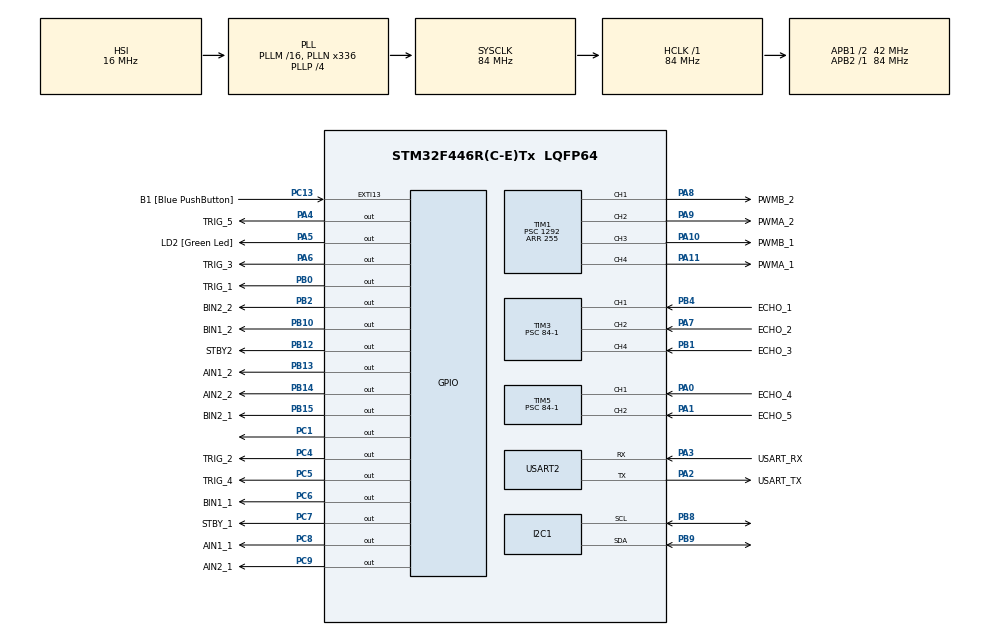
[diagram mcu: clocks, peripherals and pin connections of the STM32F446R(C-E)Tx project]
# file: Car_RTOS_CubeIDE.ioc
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Mcu.Family=STM32F4
Mcu.Name=STM32F446R(C-E)Tx
Mcu.Package=LQFP64
NVIC.PriorityGroup=NVIC_PRIORITYGROUP_4
NVIC.TIM2_IRQn=true\:0\:0\:false\:false\:true\:false\:true
NVIC.TIM3_IRQn=true\:0\:0\:false\:false\:true\:true\:true
NVIC.TimeBase=TIM2_IRQn
NVIC.TimeBaseIP=TIM2
PA0-WKUP.GPIO_Label=ECHO_4
PA0-WKUP.Signal=S_TIM5_CH1
PA1.GPIO_Label=ECHO_5
PA1.Signal=S_TIM5_CH2
PA10.GPIO_Label=PWMB_1
PA10.GPIO_Speed=GPIO_SPEED_FREQ_HIGH
PA10.Signal=S_TIM1_CH3
PA11.GPIO_Label=PWMA_1
PA11.GPIO_Speed=GPIO_SPEED_FREQ_HIGH
PA11.Signal=S_TIM1_CH4
PA13.GPIO_Label=TMS
PA13.Mode=Serial_Wire
PA13.Signal=SYS_JTMS-SWDIO
PA14.GPIO_Label=TCK
PA14.Mode=Serial_Wire
PA14.Signal=SYS_JTCK-SWCLK
PA2.GPIO_Label=USART_TX
PA2.Mode=Asynchronous
PA2.Signal=USART2_TX
PA3.GPIO_Label=USART_RX
PA3.Mode=Asynchronous
PA3.Signal=USART2_RX
PA4.GPIO_Label=TRIG_5
PA4.Signal=GPIO_Output
PA5.GPIO_Label=LD2 [Green Led]
PA5.GPIO_PuPd=GPIO_NOPULL
PA5.GPIO_Speed=GPIO_SPEED_FREQ_LOW
PA5.PinState=GPIO_PIN_RESET
PA5.Signal=GPIO_Output
PA6.GPIO_Label=TRIG_3
PA6.Signal=GPIO_Output
PA7.GPIO_Label=ECHO_2
PA7.Signal=S_TIM3_CH2
PA8.GPIO_Label=PWMB_2
PA8.GPIO_Speed=GPIO_SPEED_FREQ_HIGH
PA8.Signal=S_TIM1_CH1
PA9.GPIO_Label=PWMA_2
PA9.GPIO_Speed=GPIO_SPEED_FREQ_HIGH
PA9.Signal=S_TIM1_CH2
PB0.GPIO_Label=TRIG_1
PB0.Signal=GPIO_Output
PB1.GPIO_Label=ECHO_3
PB1.Signal=S_TIM3_CH4
PB10.GPIO_Label=BIN1_2
PB10.Signal=GPIO_Output
PB12.GPIO_Label=STBY2
PB12.Signal=GPIO_Output
PB13.GPIO_Label=AIN1_2
PB13.Signal=GPIO_Output
PB14.GPIO_Label=AIN2_2
PB14.Signal=GPIO_Output
PB15.GPIO_Label=BIN2_1
PB15.Signal=GPIO_Output
PB2.GPIO_Label=BIN2_2
PB2.Signal=GPIO_Output
PB3.GPIO_Label=SWO
PB3.Signal=SYS_JTDO-SWO
PB4.GPIO_Label=ECHO_1
PB4.Signal=S_TIM3_CH1
PB8.Mode=I2C
PB8.Signal=I2C1_SCL
PB9.Mode=I2C
PB9.Signal=I2C1_SDA
PC1.Signal=GPIO_Output
PC13.GPIO_Label=B1 [Blue PushButton]
PC13.GPIO_ModeDefaultEXTI=GPIO_MODE_IT_FALLING
PC13.Signal=GPXTI13
PC14-OSC32_IN.Mode=LSE-External-Oscillator
PC14-OSC32_IN.Signal=RCC_OSC32_IN
PC15-OSC32_OUT.Mode=LSE-External-Oscillator
PC15-OSC32_OUT.Signal=RCC_OSC32_OUT
PC4.GPIO_Label=TRIG_2
PC4.Signal=GPIO_Output
PC5.GPIO_Label=TRIG_4
PC5.Signal=GPIO_Output
PC6.GPIO_Label=BIN1_1
PC6.Signal=GPIO_Output
PC7.GPIO_Label=STBY_1
PC7.Signal=GPIO_Output
PC8.GPIO_Label=AIN1_1
PC8.Signal=GPIO_Output
PC9.GPIO_Label=AIN2_1
PC9.Signal=GPIO_Output
PH0-OSC_IN.Mode=HSE-External-Oscillator
PH0-OSC_IN.Signal=RCC_OSC_IN
PH1-OSC_OUT.Mode=HSE-External-Oscillator
PH1-OSC_OUT.Signal=RCC_OSC_OUT
ProjectManager.HeapSize=0x200
ProjectManager.StackSize=0x400
ProjectManager.TargetToolchain=STM32CubeIDE
RCC.48MHZClocksFreq_Value=84000000
RCC.AHBFreq_Value=84000000
RCC.APB1CLKDivider=RCC_HCLK_DIV2
RCC.APB1Freq_Value=42000000
RCC.APB1TimFreq_Value=84000000
RCC.APB2Freq_Value=84000000
RCC.APB2TimFreq_Value=84000000
RCC.CortexFreq_Value=84000000
RCC.FLatency-AdvancedSettings=FLASH_LATENCY_2
RCC.HCLKFreq_Value=84000000
RCC.HSE_VALUE=8000000
RCC.HSI_VALUE=16000000
RCC.PLLN=336
RCC.PLLP=RCC_PLLP_DIV4
RCC.SYSCLKFreq_VALUE=84000000
RCC.SYSCLKSource=RCC_SYSCLKSOURCE_PLLCLK
RCC.USBFreq_Value=168000000
RCC.VCOOutputFreq_Value=336000000
SH.S_TIM1_CH1.0=TIM1_CH1,PWM Generation1 CH1
SH.S_TIM1_CH2.0=TIM1_CH2,PWM Generation2 CH2
SH.S_TIM1_CH3.0=TIM1_CH3,PWM Generation3 CH3
SH.S_TIM1_CH4.0=TIM1_CH4,PWM Generation4 CH4
SH.S_TIM3_CH1.0=TIM3_CH1,Input_Capture1_from_TI1
SH.S_TIM3_CH2.0=TIM3_CH2,Input_Capture2_from_TI2
SH.S_TIM3_CH4.0=TIM3_CH4,Input_Capture4_from_TI4
SH.S_TIM5_CH1.0=TIM5_CH1,Input_Capture1_from_TI1
SH.S_TIM5_CH2.0=TIM5_CH2,Input_Capture2_from_TI2
TIM1.Channel-PWM\ Generation1\ CH1=TIM_CHANNEL_1
TIM1.Channel-PWM\ Generation2\ CH2=TIM_CHANNEL_2
TIM1.Channel-PWM\ Generation3\ CH3=TIM_CHANNEL_3
TIM1.Channel-PWM\ Generation4\ CH4=TIM_CHANNEL_4
TIM1.Period=255
TIM1.Prescaler=1292
TIM1.Pulse-PWM\ Generation1\ CH1=2000
TIM1.Pulse-PWM\ Generation2\ CH2=2000
TIM1.Pulse-PWM\ Generation3\ CH3=2000
TIM1.Pulse-PWM\ Generation4\ CH4=2000
TIM3.Channel-Input_Capture1_from_TI1=TIM_CHANNEL_1
TIM3.Channel-Input_Capture2_from_TI2=TIM_CHANNEL_2
TIM3.Channel-Input_Capture4_from_TI4=TIM_CHANNEL_4
TIM3.ICFilter_CH1=4
TIM3.ICFilter_CH2=4
TIM3.ICFilter_CH4=4
TIM3.ICPolarity_CH1=TIM_INPUTCHANNELPOLARITY_BOTHEDGE
TIM3.ICPolarity_CH2=TIM_INPUTCHANNELPOLARITY_BOTHEDGE
TIM3.ICPolarity_CH4=TIM_INPUTCHANNELPOLARITY_BOTHEDGE
TIM3.Prescaler=84-1
TIM5.Channel-Input_Capture1_from_TI1=TIM_CHANNEL_1
TIM5.Channel-Input_Capture2_from_TI2=TIM_CHANNEL_2
TIM5.ICFilter_CH1=4
TIM5.ICFilter_CH2=4
TIM5.ICPolarity_CH1=TIM_INPUTCHANNELPOLARITY_BOTHEDGE
TIM5.ICPolarity_CH2=TIM_INPUTCHANNELPOLARITY_BOTHEDGE
TIM5.Period=65535
TIM5.Prescaler=84-1
USART2.VirtualMode=VM_ASYNC
VP_SYS_VS_tim2.Mode=TIM2
VP_TIM3_VS_ClockSourceINT.Mode=Internal
VP_TIM4_VS_ClockSourceINT.Mode=Internal
board=NUCLEO-F446RE

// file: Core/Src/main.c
/* USER CODE BEGIN Header */
/**
  ******************************************************************************
  * @file           : main.c
  * @brief          : Main program body
  ******************************************************************************
  * @attention
  *
  * <h2><center>&copy; Copyright (c) 2021 STMicroelectronics.
  * All rights reserved.</center></h2>
  *
  * This software component is licensed by ST under BSD 3-Clause license,
  * the "License"; You may not use this file except in compliance with the
  * License. You may obtain a copy of the License at:
  *                        opensource.org/licenses/BSD-3-Clause
  *
  ******************************************************************************
  */
/* USER CODE END Header */
#include "main.h"

/* USER CODE BEGIN Includes */
#include "FreeRTOS.h"
#include "task.h"
#include "string.h"
#include "stdio.h"
#include "range_sensors.h"
#include "imu.h"
/* USER CODE END Includes */

I2C_HandleTypeDef hi2c1;

TIM_HandleTypeDef htim1;
TIM_HandleTypeDef htim3;
TIM_HandleTypeDef htim4;
TIM_HandleTypeDef htim5;

UART_HandleTypeDef huart2;

/* USER CODE BEGIN PV */
//Task Handles
TaskHandle_t xUS1TaskHandle;
TaskHandle_t xUS2TaskHandle;
TaskHandle_t xUS3TaskHandle;
TaskHandle_t xIMUTaskHandle;

//IMU variables
ScaledData_Def AccelScaled, GyroScaled;

/* USER CODE END PV */

void SystemClock_Config(void);
static void MX_GPIO_Init(void);
static void MX_TIM1_Init(void);
static void MX_USART2_UART_Init(void);
static void MX_TIM4_Init(void);
static void MX_I2C1_Init(void);
static void MX_TIM3_Init(void);
static void MX_TIM5_Init(void);

/* USER CODE END PFP */

/* USER CODE BEGIN 0 */
void vUS1Task(void *parameters);
void vUS2Task(void *parameters);
void vUS3Task(void *parameters);
void vMPU6050Task(void *pvParameters);
void MPU6050Setup(void);

/* USER CODE END 0 */

int main(void)
{

  /* MCU Configuration--------------------------------------------------------*/

  /* Reset of all peripherals, Initializes the Flash interface and the Systick. */
  HAL_Init();

  /* Configure the system clock */
  SystemClock_Config();

  /* Initialize all configured peripherals */
  MX_GPIO_Init();
  MX_TIM1_Init();
  MX_USART2_UART_Init();
  MX_TIM4_Init();
  MX_I2C1_Init();
  MX_TIM3_Init();
  MX_TIM5_Init();
  /* USER CODE BEGIN 2 */
  MPU6050Setup();

  xTaskCreate(vUS1Task ,"US1-Task", configMINIMAL_STACK_SIZE, NULL, 1, &xUS1TaskHandle);
  xTaskCreate(vUS2Task ,"US2-Task", configMINIMAL_STACK_SIZE, NULL, 1, &xUS2TaskHandle);
  xTaskCreate(vUS3Task ,"US3-Task", configMINIMAL_STACK_SIZE, NULL, 1, &xUS3TaskHandle);
  xTaskCreate(vMPU6050Task, "IMU-Task", configMINIMAL_STACK_SIZE, NULL, 1, &xIMUTaskHandle);

  vTaskStartScheduler();

  /* USER CODE END 2 */

  /* Infinite loop */
  while (1)
  {

  }
}

void SystemClock_Config(void)
{
  RCC_OscInitTypeDef RCC_OscInitStruct = {0};
  RCC_ClkInitTypeDef RCC_ClkInitStruct = {0};

  /** Configure the main internal regulator output voltage
  */
  __HAL_RCC_PWR_CLK_ENABLE();
  __HAL_PWR_VOLTAGESCALING_CONFIG(PWR_REGULATOR_VOLTAGE_SCALE3);
  /** Initializes the RCC Oscillators according to the specified parameters
  * in the RCC_OscInitTypeDef structure.
  */
  RCC_OscInitStruct.OscillatorType = RCC_OSCILLATORTYPE_HSI;
  RCC_OscInitStruct.HSIState = RCC_HSI_ON;
  RCC_OscInitStruct.HSICalibrationValue = RCC_HSICALIBRATION_DEFAULT;
  RCC_OscInitStruct.PLL.PLLState = RCC_PLL_ON;
  RCC_OscInitStruct.PLL.PLLSource = RCC_PLLSOURCE_HSI;
  RCC_OscInitStruct.PLL.PLLM = 16;
  RCC_OscInitStruct.PLL.PLLN = 336;
  RCC_OscInitStruct.PLL.PLLP = RCC_PLLP_DIV4;
  RCC_OscInitStruct.PLL.PLLQ = 2;
  RCC_OscInitStruct.PLL.PLLR = 2;
  if (HAL_RCC_OscConfig(&RCC_OscInitStruct) != HAL_OK)
  {
    Error_Handler();
  }
  /** Initializes the CPU, AHB and APB buses clocks
  */
  RCC_ClkInitStruct.ClockType = RCC_CLOCKTYPE_HCLK|RCC_CLOCKTYPE_SYSCLK
                              |RCC_CLOCKTYPE_PCLK1|RCC_CLOCKTYPE_PCLK2;
  RCC_ClkInitStruct.SYSCLKSource = RCC_SYSCLKSOURCE_PLLCLK;
  RCC_ClkInitStruct.AHBCLKDivider = RCC_SYSCLK_DIV1;
  RCC_ClkInitStruct.APB1CLKDivider = RCC_HCLK_DIV2;
  RCC_ClkInitStruct.APB2CLKDivider = RCC_HCLK_DIV1;

  if (HAL_RCC_ClockConfig(&RCC_ClkInitStruct, FLASH_LATENCY_2) != HAL_OK)
  {
    Error_Handler();
  }
}

static void MX_I2C1_Init(void)
{

  hi2c1.Instance = I2C1;
  hi2c1.Init.ClockSpeed = 100000;
  hi2c1.Init.DutyCycle = I2C_DUTYCYCLE_2;
  hi2c1.Init.OwnAddress1 = 0;
  hi2c1.Init.AddressingMode = I2C_ADDRESSINGMODE_7BIT;
  hi2c1.Init.DualAddressMode = I2C_DUALADDRESS_DISABLE;
  hi2c1.Init.OwnAddress2 = 0;
  hi2c1.Init.GeneralCallMode = I2C_GENERALCALL_DISABLE;
  hi2c1.Init.NoStretchMode = I2C_NOSTRETCH_DISABLE;
  if (HAL_I2C_Init(&hi2c1) != HAL_OK)
  {
    Error_Handler();
  }

}

static void MX_TIM1_Init(void)
{

  TIM_MasterConfigTypeDef sMasterConfig = {0};
  TIM_OC_InitTypeDef sConfigOC = {0};
  TIM_BreakDeadTimeConfigTypeDef sBreakDeadTimeConfig = {0};

  htim1.Instance = TIM1;
  htim1.Init.Prescaler = 1292;
  htim1.Init.CounterMode = TIM_COUNTERMODE_UP;
  htim1.Init.Period = 255;
  htim1.Init.ClockDivision = TIM_CLOCKDIVISION_DIV1;
  htim1.Init.RepetitionCounter = 0;
  htim1.Init.AutoReloadPreload = TIM_AUTORELOAD_PRELOAD_DISABLE;
  if (HAL_TIM_PWM_Init(&htim1) != HAL_OK)
  {
    Error_Handler();
  }
  sMasterConfig.MasterOutputTrigger = TIM_TRGO_RESET;
  sMasterConfig.MasterSlaveMode = TIM_MASTERSLAVEMODE_DISABLE;
  if (HAL_TIMEx_MasterConfigSynchronization(&htim1, &sMasterConfig) != HAL_OK)
  {
    Error_Handler();
  }
  sConfigOC.OCMode = TIM_OCMODE_PWM1;
  sConfigOC.Pulse = 2000;
  sConfigOC.OCPolarity = TIM_OCPOLARITY_HIGH;
  sConfigOC.OCNPolarity = TIM_OCNPOLARITY_HIGH;
  sConfigOC.OCFastMode = TIM_OCFAST_DISABLE;
  sConfigOC.OCIdleState = TIM_OCIDLESTATE_RESET;
  sConfigOC.OCNIdleState = TIM_OCNIDLESTATE_RESET;
  if (HAL_TIM_PWM_ConfigChannel(&htim1, &sConfigOC, TIM_CHANNEL_1) != HAL_OK)
  {
    Error_Handler();
  }
  if (HAL_TIM_PWM_ConfigChannel(&htim1, &sConfigOC, TIM_CHANNEL_2) != HAL_OK)
  {
    Error_Handler();
  }
  if (HAL_TIM_PWM_ConfigChannel(&htim1, &sConfigOC, TIM_CHANNEL_3) != HAL_OK)
  {
    Error_Handler();
  }
  if (HAL_TIM_PWM_ConfigChannel(&htim1, &sConfigOC, TIM_CHANNEL_4) != HAL_OK)
  {
    Error_Handler();
  }
  sBreakDeadTimeConfig.OffStateRunMode = TIM_OSSR_DISABLE;
  sBreakDeadTimeConfig.OffStateIDLEMode = TIM_OSSI_DISABLE;
  sBreakDeadTimeConfig.LockLevel = TIM_LOCKLEVEL_OFF;
  sBreakDeadTimeConfig.DeadTime = 0;
  sBreakDeadTimeConfig.BreakState = TIM_BREAK_DISABLE;
  sBreakDeadTimeConfig.BreakPolarity = TIM_BREAKPOLARITY_HIGH;
  sBreakDeadTimeConfig.AutomaticOutput = TIM_AUTOMATICOUTPUT_DISABLE;
  if (HAL_TIMEx_ConfigBreakDeadTime(&htim1, &sBreakDeadTimeConfig) != HAL_OK)
  {
    Error_Handler();
  }
  HAL_TIM_MspPostInit(&htim1);

}

static void MX_TIM3_Init(void)
{

  TIM_ClockConfigTypeDef sClockSourceConfig = {0};
  TIM_MasterConfigTypeDef sMasterConfig = {0};
  TIM_IC_InitTypeDef sConfigIC = {0};

  htim3.Instance = TIM3;
  htim3.Init.Prescaler = 84-1;
  htim3.Init.CounterMode = TIM_COUNTERMODE_UP;
  htim3.Init.Period = 65535;
  htim3.Init.ClockDivision = TIM_CLOCKDIVISION_DIV1;
  htim3.Init.AutoReloadPreload = TIM_AUTORELOAD_PRELOAD_DISABLE;
  if (HAL_TIM_Base_Init(&htim3) != HAL_OK)
  {
    Error_Handler();
  }
  sClockSourceConfig.ClockSource = TIM_CLOCKSOURCE_INTERNAL;
  if (HAL_TIM_ConfigClockSource(&htim3, &sClockSourceConfig) != HAL_OK)
  {
    Error_Handler();
  }
  if (HAL_TIM_IC_Init(&htim3) != HAL_OK)
  {
    Error_Handler();
  }
  sMasterConfig.MasterOutputTrigger = TIM_TRGO_RESET;
  sMasterConfig.MasterSlaveMode = TIM_MASTERSLAVEMODE_DISABLE;
  if (HAL_TIMEx_MasterConfigSynchronization(&htim3, &sMasterConfig) != HAL_OK)
  {
    Error_Handler();
  }
  sConfigIC.ICPolarity = TIM_INPUTCHANNELPOLARITY_BOTHEDGE;
  sConfigIC.ICSelection = TIM_ICSELECTION_DIRECTTI;
  sConfigIC.ICPrescaler = TIM_ICPSC_DIV1;
  sConfigIC.ICFilter = 4;
  if (HAL_TIM_IC_ConfigChannel(&htim3, &sConfigIC, TIM_CHANNEL_1) != HAL_OK)
  {
    Error_Handler();
  }
  if (HAL_TIM_IC_ConfigChannel(&htim3, &sConfigIC, TIM_CHANNEL_2) != HAL_OK)
  {
    Error_Handler();
  }
  if (HAL_TIM_IC_ConfigChannel(&htim3, &sConfigIC, TIM_CHANNEL_4) != HAL_OK)
  {
    Error_Handler();
  }

}

static void MX_TIM4_Init(void)
{

  TIM_ClockConfigTypeDef sClockSourceConfig = {0};
  TIM_MasterConfigTypeDef sMasterConfig = {0};

  htim4.Instance = TIM4;
  htim4.Init.Prescaler = 0;
  htim4.Init.CounterMode = TIM_COUNTERMODE_UP;
  htim4.Init.Period = 65535;
  htim4.Init.ClockDivision = TIM_CLOCKDIVISION_DIV1;
  htim4.Init.AutoReloadPreload = TIM_AUTORELOAD_PRELOAD_DISABLE;
  if (HAL_TIM_Base_Init(&htim4) != HAL_OK)
  {
    Error_Handler();
  }
  sClockSourceConfig.ClockSource = TIM_CLOCKSOURCE_INTERNAL;
  if (HAL_TIM_ConfigClockSource(&htim4, &sClockSourceConfig) != HAL_OK)
  {
    Error_Handler();
  }
  sMasterConfig.MasterOutputTrigger = TIM_TRGO_RESET;
  sMasterConfig.MasterSlaveMode = TIM_MASTERSLAVEMODE_DISABLE;
  if (HAL_TIMEx_MasterConfigSynchronization(&htim4, &sMasterConfig) != HAL_OK)
  {
    Error_Handler();
  }

}

static void MX_TIM5_Init(void)
{

  TIM_MasterConfigTypeDef sMasterConfig = {0};
  TIM_IC_InitTypeDef sConfigIC = {0};

  htim5.Instance = TIM5;
  htim5.Init.Prescaler = 84-1;
  htim5.Init.CounterMode = TIM_COUNTERMODE_UP;
  htim5.Init.Period = 65535;
  htim5.Init.ClockDivision = TIM_CLOCKDIVISION_DIV1;
  htim5.Init.AutoReloadPreload = TIM_AUTORELOAD_PRELOAD_DISABLE;
  if (HAL_TIM_IC_Init(&htim5) != HAL_OK)
  {
    Error_Handler();
  }
  sMasterConfig.MasterOutputTrigger = TIM_TRGO_RESET;
  sMasterConfig.MasterSlaveMode = TIM_MASTERSLAVEMODE_DISABLE;
  if (HAL_TIMEx_MasterConfigSynchronization(&htim5, &sMasterConfig) != HAL_OK)
  {
    Error_Handler();
  }
  sConfigIC.ICPolarity = TIM_INPUTCHANNELPOLARITY_BOTHEDGE;
  sConfigIC.ICSelection = TIM_ICSELECTION_DIRECTTI;
  sConfigIC.ICPrescaler = TIM_ICPSC_DIV1;
  sConfigIC.ICFilter = 4;
  if (HAL_TIM_IC_ConfigChannel(&htim5, &sConfigIC, TIM_CHANNEL_1) != HAL_OK)
  {
    Error_Handler();
  }
  if (HAL_TIM_IC_ConfigChannel(&htim5, &sConfigIC, TIM_CHANNEL_2) != HAL_OK)
  {
    Error_Handler();
  }

}

static void MX_USART2_UART_Init(void)
{

  huart2.Instance = USART2;
  huart2.Init.BaudRate = 115200;
  huart2.Init.WordLength = UART_WORDLENGTH_8B;
  huart2.Init.StopBits = UART_STOPBITS_1;
  huart2.Init.Parity = UART_PARITY_NONE;
  huart2.Init.Mode = UART_MODE_TX_RX;
  huart2.Init.HwFlowCtl = UART_HWCONTROL_NONE;
  huart2.Init.OverSampling = UART_OVERSAMPLING_16;
  if (HAL_UART_Init(&huart2) != HAL_OK)
  {
    Error_Handler();
  }

}

static void MX_GPIO_Init(void)
{
  GPIO_InitTypeDef GPIO_InitStruct = {0};

  /* GPIO Ports Clock Enable */
  __HAL_RCC_GPIOC_CLK_ENABLE();
  __HAL_RCC_GPIOH_CLK_ENABLE();
  __HAL_RCC_GPIOA_CLK_ENABLE();
  __HAL_RCC_GPIOB_CLK_ENABLE();

  /*Configure GPIO pin Output Level */
  HAL_GPIO_WritePin(GPIOC, GPIO_PIN_1|TRIG_2_Pin|TRIG_4_Pin|BIN1_1_Pin
                          |STBY_1_Pin|AIN1_1_Pin|AIN2_1_Pin, GPIO_PIN_RESET);

  /*Configure GPIO pin Output Level */
  HAL_GPIO_WritePin(GPIOA, TRIG_5_Pin|LD2_Pin|TRIG_3_Pin, GPIO_PIN_RESET);

  /*Configure GPIO pin Output Level */
  HAL_GPIO_WritePin(GPIOB, TRIG_1_Pin|BIN2_2_Pin|BIN1_2_Pin|STBY2_Pin
                          |AIN1_2_Pin|AIN2_2_Pin|BIN2_1_Pin, GPIO_PIN_RESET);

  /*Configure GPIO pin : B1_Pin */
  GPIO_InitStruct.Pin = B1_Pin;
  GPIO_InitStruct.Mode = GPIO_MODE_IT_FALLING;
  GPIO_InitStruct.Pull = GPIO_NOPULL;
  HAL_GPIO_Init(B1_GPIO_Port, &GPIO_InitStruct);

  /*Configure GPIO pins : PC1 TRIG_2_Pin TRIG_4_Pin BIN1_1_Pin
                           STBY_1_Pin AIN1_1_Pin AIN2_1_Pin */
  GPIO_InitStruct.Pin = GPIO_PIN_1|TRIG_2_Pin|TRIG_4_Pin|BIN1_1_Pin
                          |STBY_1_Pin|AIN1_1_Pin|AIN2_1_Pin;
  GPIO_InitStruct.Mode = GPIO_MODE_OUTPUT_PP;
  GPIO_InitStruct.Pull = GPIO_NOPULL;
  GPIO_InitStruct.Speed = GPIO_SPEED_FREQ_LOW;
  HAL_GPIO_Init(GPIOC, &GPIO_InitStruct);

  /*Configure GPIO pins : TRIG_5_Pin LD2_Pin TRIG_3_Pin */
  GPIO_InitStruct.Pin = TRIG_5_Pin|LD2_Pin|TRIG_3_Pin;
  GPIO_InitStruct.Mode = GPIO_MODE_OUTPUT_PP;
  GPIO_InitStruct.Pull = GPIO_NOPULL;
  GPIO_InitStruct.Speed = GPIO_SPEED_FREQ_LOW;
  HAL_GPIO_Init(GPIOA, &GPIO_InitStruct);

  /*Configure GPIO pins : TRIG_1_Pin BIN2_2_Pin BIN1_2_Pin STBY2_Pin
                           AIN1_2_Pin AIN2_2_Pin BIN2_1_Pin */
  GPIO_InitStruct.Pin = TRIG_1_Pin|BIN2_2_Pin|BIN1_2_Pin|STBY2_Pin
                          |AIN1_2_Pin|AIN2_2_Pin|BIN2_1_Pin;
  GPIO_InitStruct.Mode = GPIO_MODE_OUTPUT_PP;
  GPIO_InitStruct.Pull = GPIO_NOPULL;
  GPIO_InitStruct.Speed = GPIO_SPEED_FREQ_LOW;
  HAL_GPIO_Init(GPIOB, &GPIO_InitStruct);

}

/* USER CODE BEGIN 4 */
void vUS1Task(void *parameters)
{
	for(;;){
		GetRangeData1(&htim3);
		//GetRangeData(&htim3, &USNUM, TRIG_1_GPIO_Port, &RangeR1, &RangeF1);
		HAL_Delay(10);
	}
}

void vUS2Task(void *parameters)
{
	for(;;){
		GetRangeData2(&htim3);
		//GetRangeData(&htim3, &USNUM, TRIG_2_GPIO_Port, &RangeR2, &RangeF2);
		HAL_Delay(10);
	}
}

void vUS3Task(void *parameters)
{
	for(;;){
		GetRangeData3(&htim3);
		//GetRangeData(&htim3, &USNUM, TRIG_2_GPIO_Port, &RangeR2, &RangeF2);
		HAL_Delay(10);
	}
}

void vMPU6050Task(void *pvParameters)
{
	for(;;)
	{
		//Get scaled MPU6050 data in milli g
		MPU6050_Get_Accel_Cali(&AccelScaled);
		MPU6050_Get_Gyro_Scale(&GyroScaled);

		HAL_Delay(10);
	}
}

void MPU6050Setup(void)
{
	  MPU_ConfigTypeDef MpuConfig;
	  //Initialize the MPU6050
	  MPU6050_Init(&hi2c1);
	  //Configure accel and gyro parameters
	  MpuConfig.Accel_Full_Scale = AFS_SEL_4g;
	  MpuConfig.ClockSource = Internal_8MHz;
	  MpuConfig.CONFIG_DLPF = DLPF_184A_188G_Hz;
	  MpuConfig.Gyro_Full_Scale = FS_SEL_500;
	  MpuConfig.Sleep_Mode_Bit = 0;
	  MPU6050_Config(&MpuConfig);
}

/* USER CODE END 4 */

 /**
  * @brief  Period elapsed callback in non blocking mode
  * @note   This function is called  when TIM2 interrupt took place, inside
  * HAL_TIM_IRQHandler(). It makes a direct call to HAL_IncTick() to increment
  * a global variable "uwTick" used as application time base.
  * @param  htim : TIM handle
  * @retval None
  */
void HAL_TIM_PeriodElapsedCallback(TIM_HandleTypeDef *htim)
{
  if (htim->Instance == TIM2) {
    HAL_IncTick();
  }
}

void Error_Handler(void)
{
  __disable_irq();
  while (1)
  {
  }
}

/************************ (C) COPYRIGHT STMicroelectronics *****END OF FILE****/
